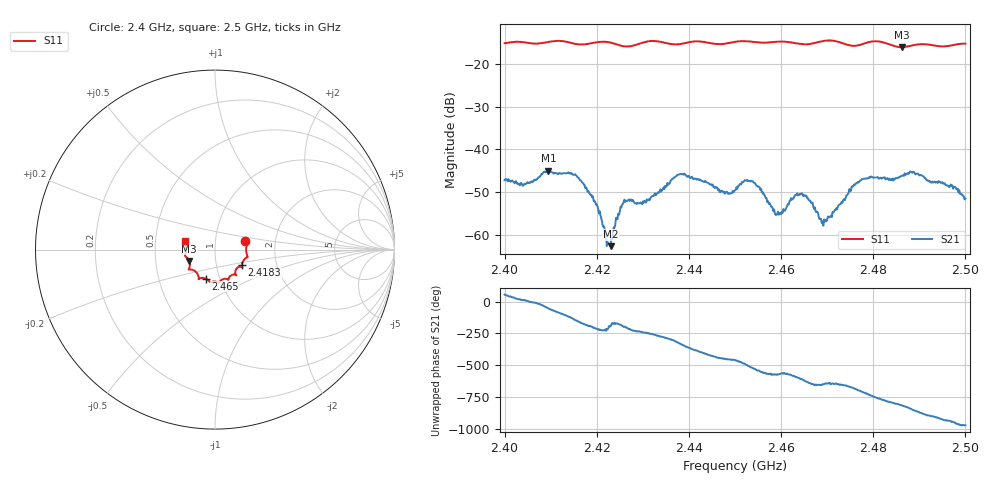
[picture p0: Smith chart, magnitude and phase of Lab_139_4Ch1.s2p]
# Hz S RI R 50
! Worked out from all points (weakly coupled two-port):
!   601 points, 2.4 GHz to 2.5 GHz, reference 50 ohm
!   highest |S21| = -45.04 dB at 2.4095 GHz (marker M1); lowest = -62.7 dB at 2.423 GHz (marker M2)
!   lowest |S11| = -16.1 dB at 2.4862 GHz (marker M3), VSWR 1.37, Z = 37.2 - j4.83 ohm
!   |S11| at or under -10 dB: start of sweep to end of sweep
!   S12 and S22 are empty: the file has one direction only
!   S11 on the Smith chart (normalised r, x): 2.4 GHz: 1.40, +0.14; 2.4183 GHz: 1.33, -0.24; 2.465 GHz: 0.86, -0.28; 2.5 GHz: 0.71, +0.07
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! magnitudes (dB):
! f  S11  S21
! 2.4 GHz  -15.2  -47.2
! 2.4043 GHz  -14.9  -48.1
! 2.4095 GHz  -14.8  -45.0
! 2.4167 GHz  -15.4  -47.5
! 2.4183 GHz  -15.2  -50.2
! 2.4205 GHz  -14.8  -55.0
! 2.4223 GHz  -14.9  -61.7
! 2.423 GHz  -15.0  -62.7
! 2.426 GHz  -15.9  -51.8
! 2.4333 GHz  -14.7  -50.1
! 2.4385 GHz  -15.3  -45.9
! 2.45 GHz  -14.8  -49.6
! 2.454 GHz  -14.8  -47.7
! 2.4592 GHz  -14.8  -55.3
! 2.465 GHz  -15.4  -50.8
! 2.4667 GHz  -15.2  -52.5
! 2.4693 GHz  -14.6  -56.4
! 2.4772 GHz  -15.5  -47.4
! 2.4833 GHz  -15.3  -47.2
! 2.4862 GHz  -16.1  -46.2
! 2.4892 GHz  -15.5  -45.9
! 2.5 GHz  -15.2  -51.6
